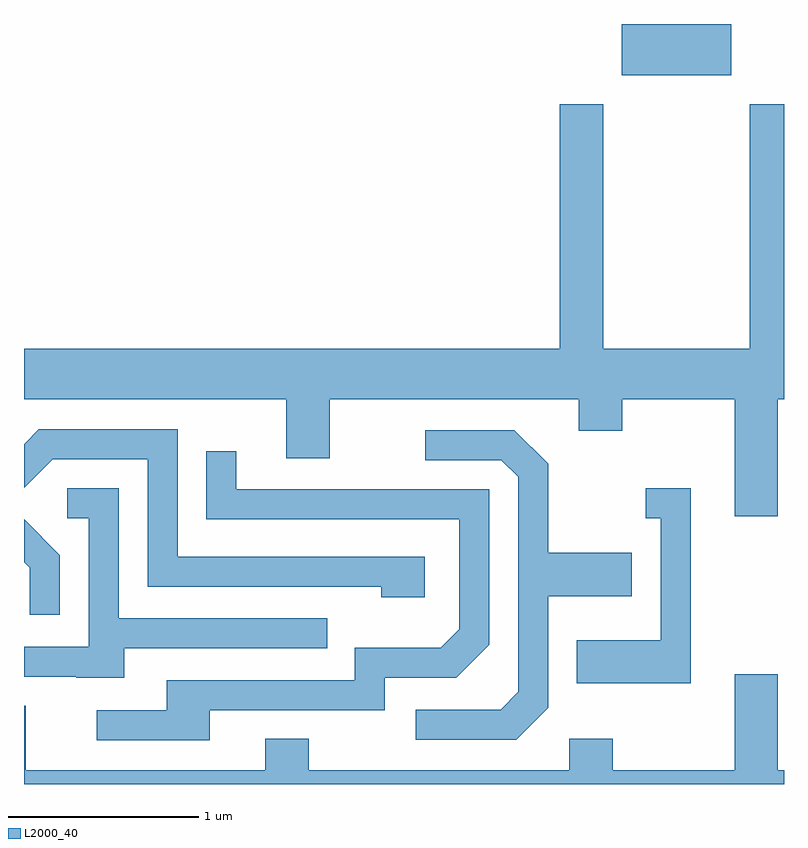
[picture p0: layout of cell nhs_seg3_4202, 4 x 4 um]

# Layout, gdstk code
import gdstk
lib = gdstk.Library(unit=1e-6, precision=1e-09)
def R(c, l, rs):  # rectangles x0, y0, x1, y1
    for r in rs: c.add(gdstk.rectangle(r[:2], r[2:], *l))
def P(c, l, *ps):  # polygons
    for p in ps: c.add(gdstk.Polygon(p, *l))
L2000_40 = (2000, 40)

nhs_seg3_4202 = lib.new_cell('nhs_seg3_4202')
R(nhs_seg3_4202, L2000_40, [(310.756,1227.621,311.334,1227.892)])
P(nhs_seg3_4202, L2000_40, [(311.579,1225.916),(311.611,1225.916),(311.611,1227.469),(311.431,1227.469),(311.431,1226.184),(310.659,1226.184),(310.659,1227.469),(310.431,1227.469),(310.431,1226.184),(307.611,1226.184),(307.611,1225.916),(308.991,1225.916),(308.991,1225.606),(309.219,1225.606),(309.219,1225.916),(310.531,1225.916),(310.531,1225.751),(310.759,1225.751),(310.759,1225.916),(311.351,1225.916),(311.351,1225.301),(311.579,1225.301)],
  [(309.719,1225.089),(308.419,1225.089),(308.419,1225.759),(307.689,1225.759),(307.611,1225.681),(307.611,1225.45),(307.762,1225.601),(308.261,1225.601),(308.261,1224.931),(309.491,1224.931),(309.491,1224.876),(309.719,1224.876)],
  [(310.369,1224.294),(310.369,1224.881),(310.809,1224.881),(310.809,1225.109),(310.369,1225.109),(310.369,1225.577),(310.192,1225.754),(309.723,1225.754),(309.723,1225.596),(310.124,1225.596),(310.211,1225.509),(310.211,1224.377),(310.119,1224.284),(309.673,1224.284),(309.673,1224.126),(310.202,1224.126)],
  [(308.589,1224.281),(309.509,1224.281),(309.509,1224.451),(309.887,1224.451),(310.059,1224.624),(310.059,1225.444),(308.729,1225.444),(308.729,1225.643),(308.571,1225.643),(308.571,1225.286),(309.901,1225.286),(309.901,1224.707),(309.804,1224.609),(309.351,1224.609),(309.351,1224.439),(308.361,1224.439),(308.361,1224.279),(307.993,1224.279),(307.993,1224.121),(308.589,1224.121)],
  [(311.119,1225.449),(310.883,1225.449),(310.883,1225.291),(310.961,1225.291),(310.961,1224.649),(310.521,1224.649),(310.521,1224.421),(311.119,1224.421)],
  [(308.139,1224.606),(309.208,1224.606),(309.208,1224.764),(308.109,1224.764),(308.109,1225.449),(307.838,1225.449),(307.838,1225.291),(307.951,1225.291),(307.951,1224.614),(307.611,1224.614),(307.611,1224.456),(307.885,1224.456),(307.885,1224.451),(308.139,1224.451)],
  [(307.799,1225.097),(307.611,1225.285),(307.611,1225.059),(307.641,1225.029),(307.641,1224.783),(307.799,1224.783)],
  [(311.611,1223.964),(311.579,1223.964),(311.579,1224.469),(311.351,1224.469),(311.351,1223.964),(310.709,1223.964),(310.709,1224.129),(310.481,1224.129),(310.481,1223.964),(309.109,1223.964),(309.109,1224.129),(308.881,1224.129),(308.881,1223.964),(307.619,1223.964),(307.619,1224.304),(307.611,1224.304),(307.611,1223.892),(311.611,1223.892)])

lib.write_gds('nhs_seg3_4202.gds')
